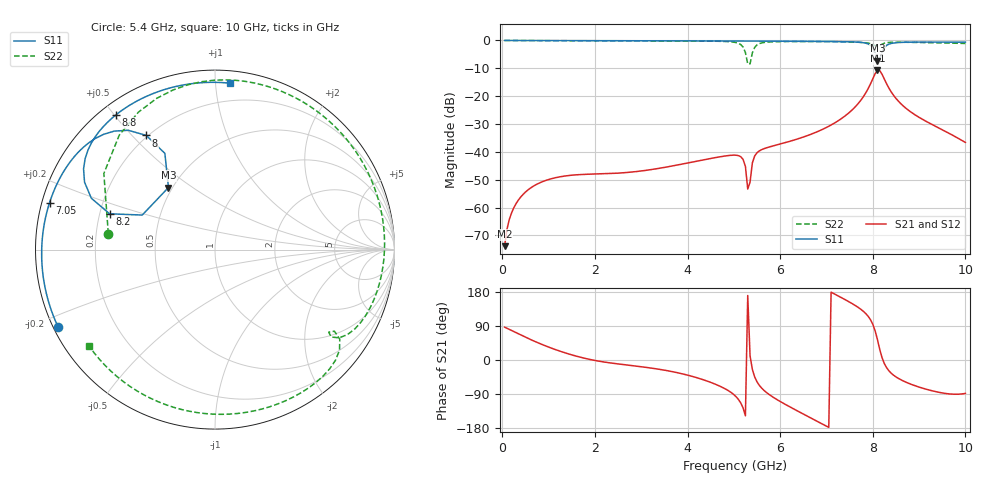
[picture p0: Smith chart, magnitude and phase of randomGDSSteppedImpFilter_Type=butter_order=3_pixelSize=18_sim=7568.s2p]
! freq	dB(S11)	phase(S11)	dB(S12)	phase(S12)
!  dB(S21)	phase(S21)	dB(S22)	phase(S22)
!S-par simulation data
#  GHz  S  DB  R 50
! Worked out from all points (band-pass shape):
!   200 points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, 50 MHz to 10 GHz, reference 50 ohm
!   highest |S21| = -10.72 dB at 8.1 GHz (marker M1); lowest = -73.8 dB at 50 MHz (marker M2)
!   |S21| within 3 dB of the highest: 8.002 GHz to 8.245 GHz (243.8 MHz wide, 3 % of centre)
!   lowest |S11| = -7.3 dB at 8.1 GHz (marker M3), VSWR 2.52, Z = 23.8 + j20.3 ohm
!   |S11| at or under -10 dB: nowhere
!   |S22| runs from -8.4 to 0.0 dB; largest |S21 - S12| = 0
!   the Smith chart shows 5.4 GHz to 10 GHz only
!   S11 on the Smith chart (normalised r, x): 5.4 GHz: 0.01, -0.23; 7.05 GHz: 0.02, +0.14; 8 GHz: 0.19, +0.55; 8.2 GHz: 0.24, +0.16; 8.8 GHz: 0.04, +0.50; 10 GHz: 0.08, +1.09
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0.05  -0.00 -1.7  -73.85 86.7  -73.85 86.7  -0.00 -4.5
0.2  -0.01 -6.6  -61.90 77.7  -61.90 77.7  -0.03 -17.9
0.5  -0.02 -16.5  -54.43 60.1  -54.43 60.1  -0.06 -43.6
1.05  -0.04 -34.2  -49.68 31.8  -49.68 31.8  -0.09 -85.5
1.75  -0.07 -56.1  -48.09 5.4  -48.09 5.4  -0.12 -127.6
2.55  -0.10 -79.7  -47.58 -11.1  -47.58 -11.1  -0.14 -165.1
3.4  -0.13 -103.2  -45.87 -24.7  -45.87 -24.7  -0.16 160.6
4.4  -0.17 -129.0  -42.67 -54.6  -42.67 -54.6  -0.23 119.1
5.05  -0.20 -145.1  -41.19 -97.1  -41.19 -97.1  -0.77 73.5
5.25  -0.22 -150.0  -45.22 -147.2  -45.22 -147.2  -4.35 12.2
5.3  -0.22 -151.2  -53.34 170.1  -53.34 170.1  -8.42 -41.3
5.4  -0.22 -153.7  -43.94 -25.0  -43.94 -25.0  -4.42 171.5
5.5  -0.23 -156.1  -40.31 -57.5  -40.31 -57.5  -1.60 129.9
5.7  -0.24 -161.1  -38.57 -85.4  -38.57 -85.4  -0.62 99.3
6.7  -0.33 173.7  -33.46 -155.5  -33.46 -155.5  -0.39 37.5
7.05  -0.37 164.1  -30.80 -177.9  -30.80 -177.9  -0.42 18.8
8  -2.59 121.0  -13.78 94.5  -13.78 94.5  -1.43 -35.4
8.1  -7.29 126.9  -10.72 54.3  -10.72 54.3  -2.13 -36.0
8.2  -4.15 161.2  -12.12 6.2  -12.12 6.2  -1.35 -35.7
8.35  -1.32 148.5  -17.15 -28.7  -17.15 -28.7  -0.71 -46.1
8.8  -0.61 126.4  -25.43 -62.8  -25.43 -62.8  -0.67 -73.6
10  -0.62 84.8  -36.61 -88.2  -36.61 -88.2  -1.07 -142.4
